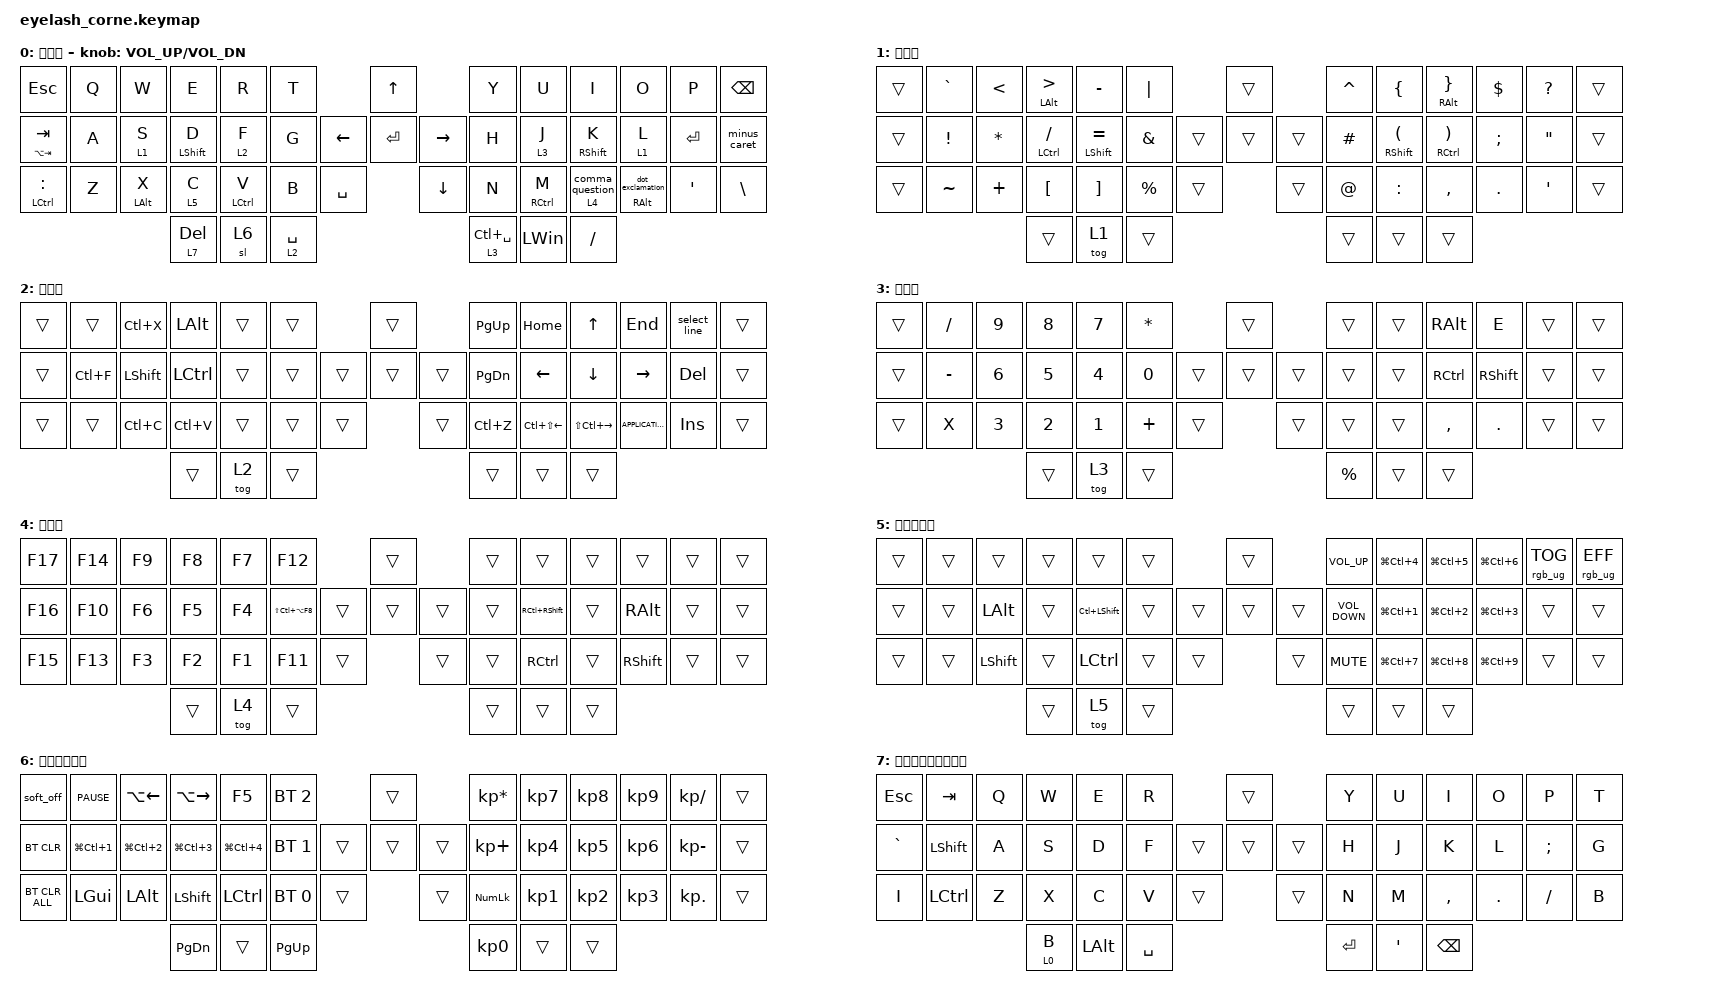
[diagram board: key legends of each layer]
#define ZMK_POINTING_DEFAULT_MOVE_VAL 1200  // 600
#define ZMK_POINTING_DEFAULT_SCRL_VAL 25   // 10

#include <input/processors.dtsi>
#include <zephyr/dt-bindings/input/input-event-codes.h>
#include <behaviors.dtsi>
#include <dt-bindings/zmk/bt.h>
#include <dt-bindings/zmk/keys.h>
#include <dt-bindings/zmk/pointing.h>
#include <dt-bindings/zmk/rgb.h>

&mmv_input_listener { input-processors = <&zip_xy_scaler 2 1>; };

&msc_input_listener { input-processors = <&zip_scroll_scaler 2 1>; };

&msc {
    acceleration-exponent = <1>;      // 0
    time-to-max-speed-ms = <100>;       // 300
    delay-ms = <0>;                   // 0
};

&mmv {
    time-to-max-speed-ms = <500>;
    acceleration-exponent = <1>;
    trigger-period-ms = <16>;
};

&soft_off { hold-time-ms = <2000>; };

/ {
    behaviors {
    };

    scroll_encoder: scroll_encoder {
        compatible = "zmk,behavior-sensor-rotate";
        #sensor-binding-cells = <0>;
        bindings = <&msc SCRL_DOWN>, <&msc SCRL_UP>;

        tap-ms = <100>;
    };

    dot_exclamation: dot_exclamation {
        compatible = "zmk,behavior-mod-morph";
        label = "DOT_EXCLAMATION";
        bindings = <&kp PERIOD>, <&kp EXCLAMATION>;

        #binding-cells = <0>;
        mods = <(MOD_LSFT)>;
    };

    comma_question: comma_question {
        compatible = "zmk,behavior-mod-morph";
        label = "COMMA_QUESTION";
        bindings = <&kp COMMA>, <&kp QUESTION>;

        #binding-cells = <0>;
        mods = <(MOD_LSFT)>;
    };

    minus_caret: minus_caret {
        compatible = "zmk,behavior-mod-morph";
        label = "MINUS_CARET";
        bindings = <&kp MINUS>, <&kp CARET>;

        #binding-cells = <0>;
        mods = <(MOD_LSFT)>;
    };

    Rlt: Rlt {
        compatible = "zmk,behavior-hold-tap";
        label = "RLT";
        bindings = <&mo>, <&kp>;

        #binding-cells = <2>;
        tapping-term-ms = <200>;
        quick-tap-ms = <150>;
        require-prior-idle-ms = <125>;
        flavor = "balanced";
        hold-trigger-key-positions = <45 46 47 42 43 44 0 1 2 3 4 5 13 14 15 16 17 18 28 29 30 31 32 33>;
        hold-trigger-on-release;
    };

    Llt: Llt {
        compatible = "zmk,behavior-hold-tap";
        label = "LLT";
        bindings = <&mo>, <&kp>;

        #binding-cells = <2>;
        tapping-term-ms = <200>;
        quick-tap-ms = <150>;
        require-prior-idle-ms = <125>;
        flavor = "balanced";
        hold-trigger-key-positions = <45 46 47 42 43 44 7 8 9 10 11 12 22 23 24 25 26 27 36 37 38 39 40 41 46 47>;
        hold-trigger-on-release;
    };

    Rmt: Rmt {
        compatible = "zmk,behavior-hold-tap";
        label = "RMT";
        bindings = <&kp>, <&kp>;

        #binding-cells = <2>;
        tapping-term-ms = <200>;
        quick-tap-ms = <150>;
        require-prior-idle-ms = <125>;
        flavor = "balanced";
        hold-trigger-key-positions = <45 46 47 42 43 44 0 1 2 3 4 5 13 14 15 16 17 18 28 29 30 31 32 33>;
        hold-trigger-on-release;
    };

    Lmt: Lmt {
        compatible = "zmk,behavior-hold-tap";
        label = "LMT";
        bindings = <&kp>, <&kp>;

        #binding-cells = <2>;
        tapping-term-ms = <200>;
        quick-tap-ms = <150>;
        require-prior-idle-ms = <125>;
        flavor = "balanced";
        hold-trigger-key-positions = <45 46 47 42 43 44 7 8 9 10 11 12 22 23 24 25 26 27 36 37 38 39 40 41 46 47>;
        hold-trigger-on-release;
    };

    Rmt_dot: Rmt_dot {
        compatible = "zmk,behavior-hold-tap";
        label = "RMT_DOT";
        bindings = <&kp>, <&dot_exclamation>;

        #binding-cells = <2>;
        tapping-term-ms = <200>;
        quick-tap-ms = <150>;
        require-prior-idle-ms = <125>;
        flavor = "balanced";
        hold-trigger-key-positions = <45 46 47 42 43 44 0 1 2 3 4 5 13 14 15 16 17 18 28 29 30 31 32 33>;
        hold-trigger-on-release;
    };

    Rlt_comma: Rlt_comma {
        compatible = "zmk,behavior-hold-tap";
        label = "RLT_COMMA";
        bindings = <&mo>, <&comma_question>;

        #binding-cells = <2>;
        tapping-term-ms = <200>;
        quick-tap-ms = <150>;
        require-prior-idle-ms = <125>;
        flavor = "balanced";
        hold-trigger-key-positions = <45 46 47 42 43 44 0 1 2 3 4 5 13 14 15 16 17 18 28 29 30 31 32 33>;
        hold-trigger-on-release;
    };

    Gaming_layer: Gaming_layer {
        compatible = "zmk,behavior-hold-tap";
        label = "GAMING_LAYER";
        bindings = <&tog>, <&kp>;

        #binding-cells = <2>;
        tapping-term-ms = <750>;
        flavor = "tap-preferred";
    };

    space_lt: space_lt {
        compatible = "zmk,behavior-hold-tap";
        label = "SPACE_LT";
        bindings = <&mo>, <&kp>;

        #binding-cells = <2>;
        tapping-term-ms = <250>;
        flavor = "tap-preferred";
    };

    ctrl_colon: ctrl_colon {
        compatible = "zmk,behavior-hold-tap";
        label = "CTRL_COLON";
        bindings = <&kp>, <&kp>;

        #binding-cells = <2>;
        tapping-term-ms = <200>;
        flavor = "tap-preferred";
        hold-while-undecided;
    };

    combos {
        compatible = "zmk,combos";

        semicolon-Return {
            bindings = <&semicolon_Return>;
            key-positions = <25 26>;
            layers = <0>;
        };

        space_EnCn {
            bindings = <&space_EnCn>;
            key-positions = <44 45>;
            timeout-ms = <350>;
        };

        CtrC {
            bindings = <&kp LC(C)>;
            key-positions = <0 1>;
            layers = <0>;
        };

        CtrA_CtrC {
            bindings = <&CtrA_CtrC>;
            key-positions = <0 1 2>;
            layers = <0>;
        };

        CtrV {
            bindings = <&kp LC(V)>;
            key-positions = <13 14>;
            layers = <0>;
        };

        under {
            bindings = <&kp UNDER>;
            key-positions = <38 39>;
        };

        grave {
            bindings = <&kp GRAVE>;
            key-positions = <41 40>;
        };

        Capslock {
            bindings = <&kp CAPSLOCK>;
            key-positions = <39 40>;
        };

        Shift {
            bindings = <&kp LEFT_SHIFT>;
            key-positions = <28 29>;
            layers = <0>;
        };

        F2_CtrA_CtrC {
            bindings = <&F2_CtrA_CtrC>;
            key-positions = <31 32>;
            layers = <4>;
        };

        double_percent {
            bindings = <&double_percent>;
            key-positions = <32 33>;
            layers = <3>;
        };
    };

    macros {
        semicolon_Return: semicolon_Return {
            compatible = "zmk,behavior-macro";
            #binding-cells = <0>;
            bindings = <&kp SEMI>, <&macro_wait_time 30>, <&kp RET>;

            label = "SEMICOLON_RETURN";
        };

        space_EnCn: space_EnCn {
            compatible = "zmk,behavior-macro";
            #binding-cells = <0>;
            bindings = <&kp SPACE>, <&macro_wait_time 30>, <&kp LC(SPACE)>;

            label = "SPACE_ENCN";
        };

        CtrA_CtrC: CtrA_CtrC {
            compatible = "zmk,behavior-macro";
            #binding-cells = <0>;
            bindings = <&kp LC(A)>, <&macro_wait_time 30>, <&kp LC(C)>;

            label = "CTRA_CTRC";
        };

        select_line: select_line {
            compatible = "zmk,behavior-macro";
            #binding-cells = <0>;
            bindings = <&kp HOME>, <&macro_wait_time 30>, <&kp LS(END)>;

            label = "SELECT_LINE";
        };

        F2_CtrA_CtrC: F2_CtrA_CtrC {
            compatible = "zmk,behavior-macro";
            #binding-cells = <0>;
            bindings =
                <&kp F2>,
                <&macro_wait_time 15>,
                <&kp LC(A)>,
                <&macro_wait_time 15>,
                <&kp LC(C)>;

            label = "F2_CTRA_CTRC";
        };

        double_percent: double_percent {
            compatible = "zmk,behavior-macro";
            #binding-cells = <0>;
            bindings = <&kp PERCENT>, <&macro_wait_time 20>, <&kp PERCENT>;

            label = "DOUBLE_PERCENT";
        };
    };

    keymap {
        compatible = "zmk,keymap";

        Default {
            display-name = "默认层";
            bindings = <
&kp ESC                  &kp Q  &kp W            &kp E                   &kp R         &kp T                                     &kp UP                &kp Y                  &kp U         &kp I               &kp O                 &kp P             &kp BSPC
&mt LA(TAB) TAB          &kp A  &Llt 1 S         &Lmt LEFT_SHIFT D       &Llt 2 F      &kp G                           &kp LEFT  &kp ENTER  &kp RIGHT  &kp H                  &Rlt 3 J      &Rmt RIGHT_SHIFT K  &Rlt 1 L              &kp RETURN        &minus_caret
&ctrl_colon LCTRL COLON  &kp Z  &Lmt LEFT_ALT X  &Llt 5 C                &Lmt LCTRL V  &kp B              &kp SPACE              &kp DOWN              &kp N                  &Rmt RCTRL M  &Rlt_comma 4 0      &Rmt_dot RIGHT_ALT 0  &kp SINGLE_QUOTE  &kp BACKSLASH
                                                 &Gaming_layer 7 DELETE  &sl 6         &space_lt 2 SPACE                                               &space_lt 3 LC(SPACE)  &kp LEFT_WIN  &kp SLASH
            >;

            sensor-bindings = <&inc_dec_kp C_VOLUME_UP C_VOL_DN>;
        };

        Symbols {
            bindings = <
&trans  &kp GRAVE        &kp LESS_THAN  &Lmt LEFT_ALT GREATER_THAN  &kp MINUS              &kp PIPE                         &trans          &kp CARET    &kp LEFT_BRACE                     &Rmt RIGHT_ALT RIGHT_BRACE            &kp DOLLAR     &kp QUESTION       &trans
&trans  &kp EXCLAMATION  &kp ASTERISK   &Lmt LEFT_CONTROL SLASH     &Lmt LEFT_SHIFT EQUAL  &kp AMPERSAND            &trans  &trans  &trans  &kp HASH     &Rmt RIGHT_SHIFT LEFT_PARENTHESIS  &Rmt RIGHT_CONTROL RIGHT_PARENTHESIS  &kp SEMICOLON  &kp DOUBLE_QUOTES  &trans
&trans  &kp TILDE        &kp PLUS       &kp LEFT_BRACKET            &kp RIGHT_BRACKET      &kp PERCENT    &trans            &trans          &kp AT_SIGN  &kp COLON                          &kp COMMA                             &kp DOT        &kp APOSTROPHE     &trans
                                        &trans                      &tog 1                 &trans                                           &trans       &trans                             &trans
            >;

            label = "符号层";
        };

        Navigation {
            bindings = <
&trans  &trans     &kp LC(X)       &kp LEFT_ALT  &trans  &trans                    &trans          &kp PAGE_UP    &kp HOME          &kp UP             &kp END            &select_line  &trans
&trans  &kp LC(F)  &kp LEFT_SHIFT  &kp LCTRL     &trans  &trans            &trans  &trans  &trans  &kp PAGE_DOWN  &kp LEFT          &kp DOWN           &kp RIGHT          &kp DELETE    &trans
&trans  &trans     &kp LC(C)       &kp LC(V)     &trans  &trans  &trans            &trans          &kp LC(Z)      &kp LC(LS(LEFT))  &kp LS(LC(RIGHT))  &kp K_APPLICATION  &kp INS       &trans
                                   &trans        &tog 2  &trans                                    &trans         &trans            &trans
            >;

            label = "导航层";
        };

        Numbers {
            bindings = <
&trans  &kp FSLH   &kp N9  &kp N8  &kp N7  &kp STAR                    &trans          &trans       &trans  &kp RALT   &kp E      &trans  &trans
&trans  &kp MINUS  &kp N6  &kp N5  &kp N4  &kp N0              &trans  &trans  &trans  &trans       &trans  &kp RCTRL  &kp RSHFT  &trans  &trans
&trans  &kp X      &kp N3  &kp N2  &kp N1  &kp PLUS  &trans            &trans          &trans       &trans  &kp COMMA  &kp DOT    &trans  &trans
                           &trans  &tog 3  &trans                                      &kp PERCENT  &trans  &trans
            >;

            label = "数字层";
        };

        Fkey {
            bindings = <
&kp F17  &kp F14  &kp F9  &kp F8  &kp F7  &kp F12                               &trans          &trans  &trans               &trans  &trans     &trans  &trans
&kp F16  &kp F10  &kp F6  &kp F5  &kp F4  &kp LS(LC(LA(F8)))            &trans  &trans  &trans  &trans  &kp RC(RIGHT_SHIFT)  &trans  &kp RALT   &trans  &trans
&kp F15  &kp F13  &kp F3  &kp F2  &kp F1  &kp F11             &trans            &trans          &trans  &kp RCTRL            &trans  &kp RSHFT  &trans  &trans
                          &trans  &tog 4  &trans                                                &trans  &trans               &trans
            >;

            label = "功能区";
        };

        Application {
            bindings = <
&trans  &trans  &trans     &trans  &trans              &trans                    &trans          &kp C_VOLUME_UP    &kp LG(LC(N4))  &kp LG(LC(N5))  &kp LG(LC(N6))  &rgb_ug RGB_TOG  &rgb_ug RGB_EFF
&trans  &trans  &kp LALT   &trans  &kp LC(LEFT_SHIFT)  &trans            &trans  &trans  &trans  &kp C_VOLUME_DOWN  &kp LG(LC(N1))  &kp LG(LC(N2))  &kp LG(LC(N3))  &trans           &trans
&trans  &trans  &kp LSHFT  &trans  &kp LCTRL           &trans  &trans            &trans          &kp C_MUTE         &kp LG(LC(N7))  &kp LG(LC(N8))  &kp LG(LC(N9))  &trans           &trans
                           &trans  &tog 5              &trans                                    &trans             &trans          &trans
            >;

            label = "导航快捷键";
        };

        Others_KP {
            bindings = <
&soft_off       &kp C_PAUSE     &kp LA(LEFT)    &kp LA(RIGHT)   &kp F5          &bt BT_SEL 2                    &trans          &kp KP_ASTERISK  &kp KP_NUMBER_7  &kp KP_NUMBER_8  &kp KP_NUMBER_9  &kp KP_DIVIDE    &trans
&bt BT_CLR      &kp LG(LC(N1))  &kp LG(LC(N2))  &kp LG(LC(N3))  &kp LG(LC(N4))  &bt BT_SEL 1            &trans  &trans  &trans  &kp KP_PLUS      &kp KP_NUMBER_4  &kp KP_NUMBER_5  &kp KP_NUMBER_6  &kp KP_SUBTRACT  &trans
&bt BT_CLR_ALL  &kp LGUI        &kp LEFT_ALT    &kp LEFT_SHIFT  &kp LCTRL       &bt BT_SEL 0  &trans            &trans          &kp KP_NUMLOCK   &kp KP_NUMBER_1  &kp KP_N2        &kp KP_N3        &kp KP_DOT       &trans
                                                &kp PAGE_DOWN   &trans          &kp PAGE_UP                                     &kp KP_N0        &trans           &trans
            >;

            label = "杂项和小键盘";
        };

        Gaming {
            bindings = <
&kp ESC    &kp TAB    &kp Q  &kp W              &kp E     &kp R                        &trans          &kp Y      &kp U     &kp I      &kp O    &kp P     &kp T
&kp GRAVE  &kp LSHFT  &kp A  &kp S              &kp D     &kp F                &trans  &trans  &trans  &kp H      &kp J     &kp K      &kp L    &kp SEMI  &kp G
&kp I      &kp LCTRL  &kp Z  &kp X              &kp C     &kp V      &trans            &trans          &kp N      &kp M     &kp COMMA  &kp DOT  &kp FSLH  &kp B
                             &Gaming_layer 0 B  &kp LALT  &kp SPACE                                    &kp ENTER  &kp APOS  &kp BSPC
            >;

            label = "游戏按键的单手键盘";
        };
    };
};
